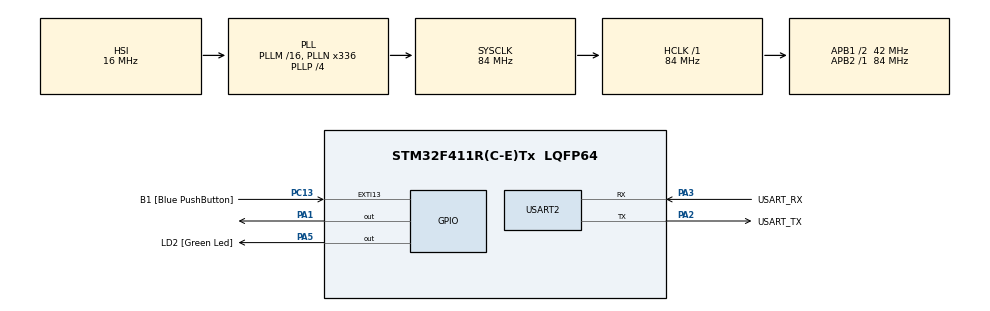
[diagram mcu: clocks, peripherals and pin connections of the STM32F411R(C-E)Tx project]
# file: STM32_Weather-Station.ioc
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Mcu.Family=STM32F4
Mcu.Name=STM32F411R(C-E)Tx
Mcu.Package=LQFP64
NVIC.PriorityGroup=NVIC_PRIORITYGROUP_0
PA1.Signal=GPIO_Output
PA13.GPIO_Label=TMS
PA13.Mode=Serial_Wire
PA13.Signal=SYS_JTMS-SWDIO
PA14.GPIO_Label=TCK
PA14.Mode=Serial_Wire
PA14.Signal=SYS_JTCK-SWCLK
PA2.GPIO_Label=USART_TX
PA2.Mode=Asynchronous
PA2.Signal=USART2_TX
PA3.GPIO_Label=USART_RX
PA3.Mode=Asynchronous
PA3.Signal=USART2_RX
PA5.GPIO_Label=LD2 [Green Led]
PA5.Signal=GPIO_Output
PB3.GPIO_Label=SWO
PB3.Signal=SYS_JTDO-SWO
PC13-ANTI_TAMP.GPIO_Label=B1 [Blue PushButton]
PC13-ANTI_TAMP.GPIO_ModeDefaultEXTI=GPIO_MODE_IT_FALLING
PC13-ANTI_TAMP.Signal=GPXTI13
PC14-OSC32_IN.Mode=LSE-External-Oscillator
PC14-OSC32_IN.Signal=RCC_OSC32_IN
PC15-OSC32_OUT.Mode=LSE-External-Oscillator
PC15-OSC32_OUT.Signal=RCC_OSC32_OUT
PH0\ -\ OSC_IN.Mode=HSE-External-Clock-Source
PH0\ -\ OSC_IN.Signal=RCC_OSC_IN
PH1\ -\ OSC_OUT.Mode=HSE-External-Clock-Source
PH1\ -\ OSC_OUT.Signal=RCC_OSC_OUT
ProjectManager.HeapSize=0x1000
ProjectManager.StackSize=0x1000
ProjectManager.TargetToolchain=STM32CubeIDE
RCC.48MHZClocksFreq_Value=84000000
RCC.AHBFreq_Value=84000000
RCC.APB1CLKDivider=RCC_HCLK_DIV2
RCC.APB1Freq_Value=42000000
RCC.APB1TimFreq_Value=84000000
RCC.APB2Freq_Value=84000000
RCC.APB2TimFreq_Value=84000000
RCC.CortexFreq_Value=84000000
RCC.FLatency-AdvancedSettings=FLASH_LATENCY_2
RCC.HCLKFreq_Value=84000000
RCC.HSE_VALUE=8000000
RCC.HSI_VALUE=16000000
RCC.PLLN=336
RCC.PLLP=RCC_PLLP_DIV4
RCC.SYSCLKFreq_VALUE=84000000
RCC.SYSCLKSource=RCC_SYSCLKSOURCE_PLLCLK
RCC.VCOOutputFreq_Value=336000000
TIM1.Prescaler=84-1
USART2.VirtualMode=VM_ASYNC
VP_TIM1_VS_ClockSourceINT.Mode=Internal
board=NUCLEO-F411RE

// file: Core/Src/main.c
/* USER CODE BEGIN Header */
/**
 ******************************************************************************
 * @file           : main.c
 * @brief          : Main program body
 ******************************************************************************
 * @attention
 *
 * Copyright (c) 2025 STMicroelectronics.
 * All rights reserved.
 *
 * This software is licensed under terms that can be found in the LICENSE file
 * in the root directory of this software component.
 * If no LICENSE file comes with this software, it is provided AS-IS.
 *
 ******************************************************************************
 */
/* USER CODE END Header */
#include "main.h"

/* USER CODE BEGIN Includes */
#include <stdarg.h>
#include <stdio.h>
#include "dht11.h"
/* USER CODE END Includes */

TIM_HandleTypeDef htim1;

UART_HandleTypeDef huart2;

/* USER CODE BEGIN PV */
dht11_handle_t dht11_sensor;
/* USER CODE END PV */

void SystemClock_Config(void);
static void MX_GPIO_Init(void);
static void MX_USART2_UART_Init(void);
static void MX_TIM1_Init(void);
/* USER CODE BEGIN PFP */

#define LOG_BUFFER_SIZE 128
const uint8_t MAX_UART_TIMEOUT = 10;
const uint8_t DHT11_MAX_INIT_RETRIES = 10;
static char log_buffer[LOG_BUFFER_SIZE];

/* USER CODE END PFP */

/* USER CODE BEGIN 0 */

void log_message(UART_HandleTypeDef *huart_handle, const char *format, ...) {
	va_list args;
	va_start(args, format);
	int len = vsnprintf(log_buffer, LOG_BUFFER_SIZE, format, args);
	va_end(args);

	if (len > 0) {
		HAL_UART_Transmit(huart_handle, (uint8_t*) log_buffer, len,
				MAX_UART_TIMEOUT);
	}
}

/* USER CODE END 0 */

int main(void) {

	/* MCU Configuration--------------------------------------------------------*/

	/* Reset of all peripherals, Initializes the Flash interface and the Systick. */
	HAL_Init();

	/* Configure the system clock */
	SystemClock_Config();

	/* Initialize all configured peripherals */
	MX_GPIO_Init();
	MX_USART2_UART_Init();
	MX_TIM1_Init();
	/* USER CODE BEGIN 2 */
	HAL_Delay(2000);
	log_message(&huart2, "Initializing DHT11 Sensor...\r\n");

	dht11_init(&dht11_sensor, GPIOA, GPIO_PIN_1, &htim1);
	dht11_response initial_response;
	uint8_t retries = 0;
	do {
		initial_response = dht11_read(&dht11_sensor);
		if (initial_response.status != DHT11_OK) {
			retries++;
			log_message(&huart2, "DHT11 Initialization retry %d/%d: %s\r\n", retries,
					DHT11_MAX_INIT_RETRIES,
					dht11_status_to_string(initial_response.status));
			HAL_Delay(2000);
		}
	} while (initial_response.status != DHT11_OK
			&& retries < DHT11_MAX_INIT_RETRIES);

	if (initial_response.status == DHT11_OK) {
		log_message(&huart2, "DHT11 Sensor Initialized.\r\n\n");
	} else {
		log_message(&huart2, "FATAL: DHT11 Initialization Failed.\r\n\n");
		return 1;
	}

	HAL_Delay(2000);
	/* USER CODE END 2 */

	/* Infinite loop */
	/* USER CODE BEGIN WHILE */
	while (1)

	{
		dht11_response response = dht11_read(&dht11_sensor);
		if (response.status != DHT11_OK) {
			log_message(&huart2, "Error: %s\r\n\n",
					dht11_status_to_string(response.status));
		} else {
			log_message(&huart2,
					"Temperature: %.2f C\r\nHumidity: %.2f RH\r\n\n",
					response.temperature, response.humidity);
		}
		HAL_Delay(2000);
		/* USER CODE END WHILE */

	}
}

void SystemClock_Config(void) {
	RCC_OscInitTypeDef RCC_OscInitStruct = { 0 };
	RCC_ClkInitTypeDef RCC_ClkInitStruct = { 0 };

	/** Configure the main internal regulator output voltage
	 */
	__HAL_RCC_PWR_CLK_ENABLE();
	__HAL_PWR_VOLTAGESCALING_CONFIG(PWR_REGULATOR_VOLTAGE_SCALE1);

	/** Initializes the RCC Oscillators according to the specified parameters
	 * in the RCC_OscInitTypeDef structure.
	 */
	RCC_OscInitStruct.OscillatorType = RCC_OSCILLATORTYPE_HSI;
	RCC_OscInitStruct.HSIState = RCC_HSI_ON;
	RCC_OscInitStruct.HSICalibrationValue = RCC_HSICALIBRATION_DEFAULT;
	RCC_OscInitStruct.PLL.PLLState = RCC_PLL_ON;
	RCC_OscInitStruct.PLL.PLLSource = RCC_PLLSOURCE_HSI;
	RCC_OscInitStruct.PLL.PLLM = 16;
	RCC_OscInitStruct.PLL.PLLN = 336;
	RCC_OscInitStruct.PLL.PLLP = RCC_PLLP_DIV4;
	RCC_OscInitStruct.PLL.PLLQ = 4;
	if (HAL_RCC_OscConfig(&RCC_OscInitStruct) != HAL_OK) {
		Error_Handler();
	}

	/** Initializes the CPU, AHB and APB buses clocks
	 */
	RCC_ClkInitStruct.ClockType = RCC_CLOCKTYPE_HCLK | RCC_CLOCKTYPE_SYSCLK
			| RCC_CLOCKTYPE_PCLK1 | RCC_CLOCKTYPE_PCLK2;
	RCC_ClkInitStruct.SYSCLKSource = RCC_SYSCLKSOURCE_PLLCLK;
	RCC_ClkInitStruct.AHBCLKDivider = RCC_SYSCLK_DIV1;
	RCC_ClkInitStruct.APB1CLKDivider = RCC_HCLK_DIV2;
	RCC_ClkInitStruct.APB2CLKDivider = RCC_HCLK_DIV1;

	if (HAL_RCC_ClockConfig(&RCC_ClkInitStruct, FLASH_LATENCY_2) != HAL_OK) {
		Error_Handler();
	}
}

static void MX_TIM1_Init(void) {

	TIM_ClockConfigTypeDef sClockSourceConfig = { 0 };
	TIM_MasterConfigTypeDef sMasterConfig = { 0 };

	htim1.Instance = TIM1;
	htim1.Init.Prescaler = 84 - 1;
	htim1.Init.CounterMode = TIM_COUNTERMODE_UP;
	htim1.Init.Period = 65535;
	htim1.Init.ClockDivision = TIM_CLOCKDIVISION_DIV1;
	htim1.Init.RepetitionCounter = 0;
	htim1.Init.AutoReloadPreload = TIM_AUTORELOAD_PRELOAD_DISABLE;
	if (HAL_TIM_Base_Init(&htim1) != HAL_OK) {
		Error_Handler();
	}
	sClockSourceConfig.ClockSource = TIM_CLOCKSOURCE_INTERNAL;
	if (HAL_TIM_ConfigClockSource(&htim1, &sClockSourceConfig) != HAL_OK) {
		Error_Handler();
	}
	sMasterConfig.MasterOutputTrigger = TIM_TRGO_RESET;
	sMasterConfig.MasterSlaveMode = TIM_MASTERSLAVEMODE_DISABLE;
	if (HAL_TIMEx_MasterConfigSynchronization(&htim1, &sMasterConfig)
			!= HAL_OK) {
		Error_Handler();
	}

}

static void MX_USART2_UART_Init(void) {

	huart2.Instance = USART2;
	huart2.Init.BaudRate = 115200;
	huart2.Init.WordLength = UART_WORDLENGTH_8B;
	huart2.Init.StopBits = UART_STOPBITS_1;
	huart2.Init.Parity = UART_PARITY_NONE;
	huart2.Init.Mode = UART_MODE_TX_RX;
	huart2.Init.HwFlowCtl = UART_HWCONTROL_NONE;
	huart2.Init.OverSampling = UART_OVERSAMPLING_16;
	if (HAL_UART_Init(&huart2) != HAL_OK) {
		Error_Handler();
	}

}

static void MX_GPIO_Init(void) {
	GPIO_InitTypeDef GPIO_InitStruct = { 0 };

	/* GPIO Ports Clock Enable */
	__HAL_RCC_GPIOC_CLK_ENABLE();
	__HAL_RCC_GPIOH_CLK_ENABLE();
	__HAL_RCC_GPIOA_CLK_ENABLE();
	__HAL_RCC_GPIOB_CLK_ENABLE();

	/*Configure GPIO pin Output Level */
	HAL_GPIO_WritePin(GPIOA, GPIO_PIN_1 | LD2_Pin, GPIO_PIN_RESET);

	/*Configure GPIO pin : B1_Pin */
	GPIO_InitStruct.Pin = B1_Pin;
	GPIO_InitStruct.Mode = GPIO_MODE_IT_FALLING;
	GPIO_InitStruct.Pull = GPIO_NOPULL;
	HAL_GPIO_Init(B1_GPIO_Port, &GPIO_InitStruct);

	/*Configure GPIO pins : PA1 LD2_Pin */
	GPIO_InitStruct.Pin = GPIO_PIN_1 | LD2_Pin;
	GPIO_InitStruct.Mode = GPIO_MODE_OUTPUT_PP;
	GPIO_InitStruct.Pull = GPIO_NOPULL;
	GPIO_InitStruct.Speed = GPIO_SPEED_FREQ_LOW;
	HAL_GPIO_Init(GPIOA, &GPIO_InitStruct);

}

void Error_Handler(void) {
	__disable_irq();
	while (1) {
	}
}
